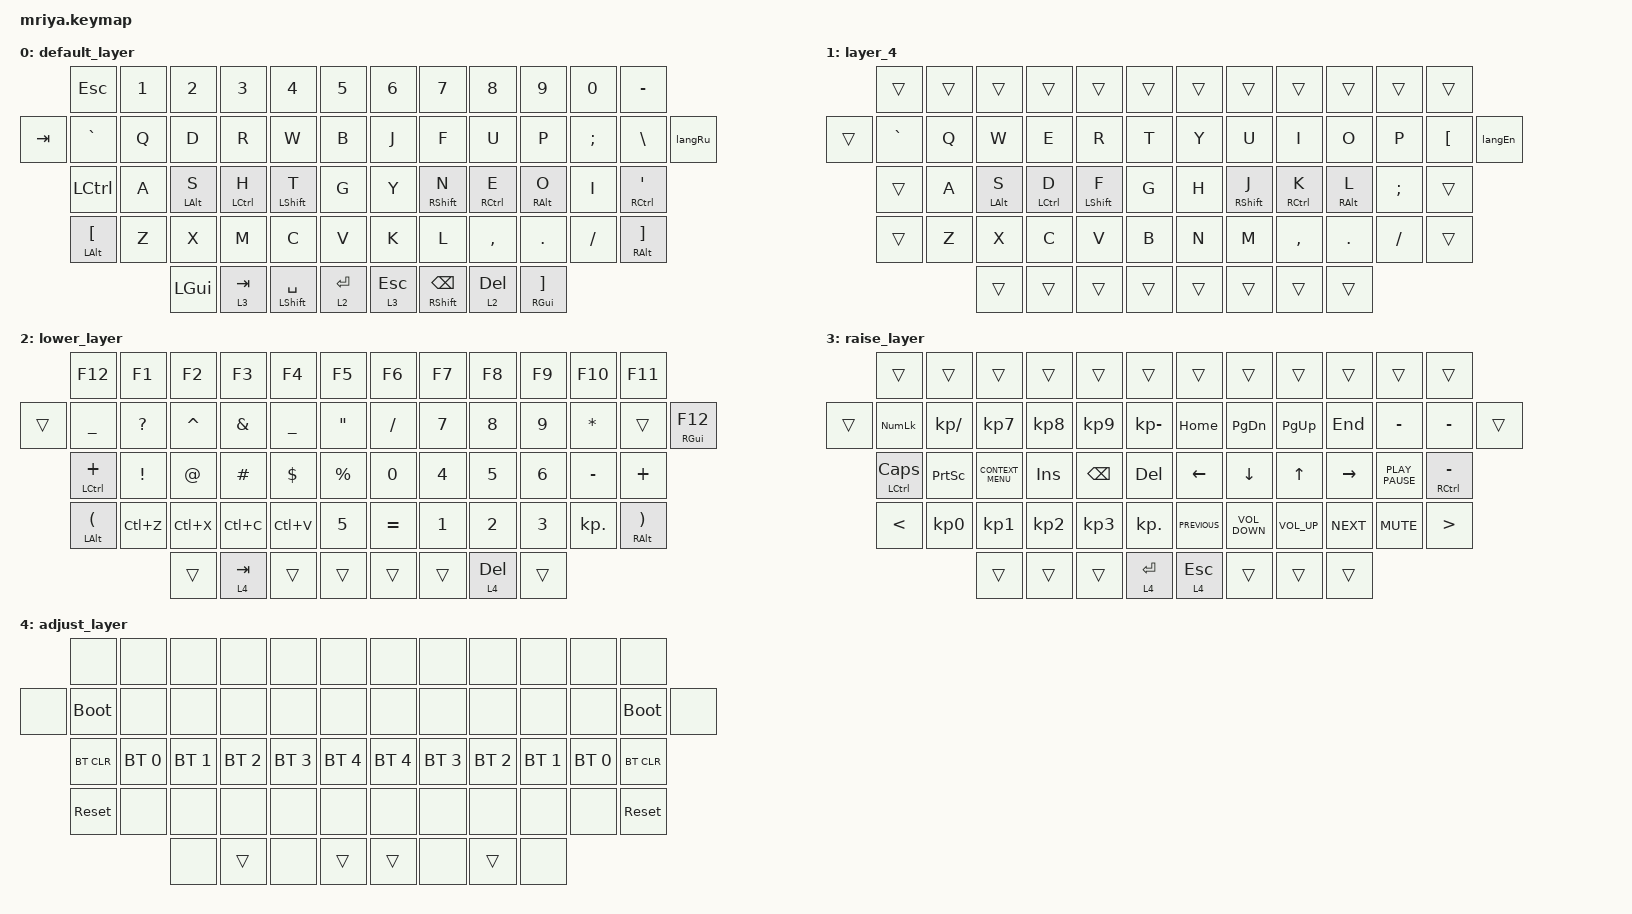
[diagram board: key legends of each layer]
/*
 * Copyright (c) 2023 Andrei Gaevskii
 *
 * SPDX-License-Identifier: MIT
 */

#include <behaviors.dtsi>
#include <dt-bindings/zmk/bt.h>
#include <dt-bindings/zmk/keys.h>

#define DEF 0
#define LWR 1
#define RSE 2
#define ADJ 3

&lt { quick_tap_ms = <200>; };

&mt { quick_tap_ms = <200>; };

/ {
    macros {
        langEn: langEn {
            compatible = "zmk,behavior-macro";
            #binding-cells = <0>;
            bindings =
                <&macro_press>,
                <&to 0 &kp LGUI>,
                <&macro_tap>,
                <&kp SPACE>,
                <&macro_pause_for_release>,
                <&macro_release>,
                <&to 0 &kp LGUI>;

            label = "LANGEN";
        };

        langRu: langRu {
            compatible = "zmk,behavior-macro";
            #binding-cells = <0>;
            bindings =
                <&macro_press>,
                <&to 1 &kp LGUI>,
                <&macro_tap>,
                <&kp SPACE>,
                <&macro_pause_for_release>,
                <&macro_release>,
                <&to 1 &kp LGUI>;

            label = "LANGRU";
        };
    };

    behaviors {
        ht: ht {
            compatible = "zmk,behavior-hold-tap";
            label = "HT";
            bindings = <&kp>, <&kp>;

            #binding-cells = <2>;
            tapping-term-ms = <200>;
            flavor = "tap-preferred";
        };
    };

    keymap {
        compatible = "zmk,keymap";

        default_layer {
            bindings = <
         &kp ESC                    &kp N1  &kp N2      &kp N3       &kp N4           &kp N5       &kp N6     &kp N7          &kp N8       &kp N9                  &kp N0         &kp MINUS
&kp TAB  &kp GRAVE                  &kp Q   &kp D       &kp R        &kp W            &kp B        &kp J      &kp F           &kp U        &kp P                   &kp SEMICOLON  &kp BACKSLASH           &langRu
         &kp LCTRL                  &kp A   &ht LALT S  &ht LCTRL H  &ht LSHFT T      &kp G        &kp Y      &ht RSHFT N     &ht RCTRL E  &ht RALT O              &kp I          &mt RCTRL SQT
         &mt LEFT_ALT LEFT_BRACKET  &kp Z   &kp X       &kp M        &kp C            &kp V        &kp K      &kp L           &kp COMMA    &kp DOT                 &kp FSLH       &mt RALT RIGHT_BRACKET
                                            &kp LGUI    &lt 3 TAB    &mt LSHFT SPACE  &lt 2 RET    &lt 3 ESC  &mt RSHFT BSPC  &lt 2 DEL    &mt RGUI RIGHT_BRACKET
            >;
        };

        layer_4 {
            bindings = <
        &trans     &trans  &trans      &trans       &trans       &trans    &trans  &trans       &trans       &trans      &trans     &trans
&trans  &kp GRAVE  &kp Q   &kp W       &kp E        &kp R        &kp T     &kp Y   &kp U        &kp I        &kp O       &kp P      &kp LBKT  &langEn
        &trans     &kp A   &ht LALT S  &ht LCTRL D  &ht LSHFT F  &kp G     &kp H   &ht RSHFT J  &ht RCTRL K  &ht RALT L  &kp SEMI   &trans
        &trans     &kp Z   &kp X       &kp C        &kp V        &kp B     &kp N   &kp M        &kp COMMA    &kp DOT     &kp SLASH  &trans
                           &trans      &trans       &trans       &trans    &trans  &trans       &trans       &trans
            >;
        };

        lower_layer {
            bindings = <
        &kp F12                    &kp F1        &kp F2     &kp F3         &kp F4          &kp F5               &kp F6        &kp F7        &kp F8        &kp F9        &kp F10     &kp F11
&trans  &kp UNDER                  &kp QUESTION  &kp CARET  &kp AMPERSAND  &kp UNDERSCORE  &kp DOUBLE_QUOTES    &kp SLASH     &kp NUMBER_7  &kp NUMBER_8  &kp NUMBER_9  &kp STAR    &trans                           &mt RGUI F12
        &mt LCTRL PLUS             &kp EXCL      &kp AT     &kp HASH       &kp DLLR        &kp PRCNT            &kp NUMBER_0  &kp NUMBER_4  &kp NUMBER_5  &kp NUMBER_6  &kp MINUS   &kp PLUS
        &mt LALT LEFT_PARENTHESIS  &kp LC(Z)     &kp LC(X)  &kp LC(C)      &kp LC(V)       &kp N5               &kp EQUAL     &kp NUMBER_1  &kp NUMBER_2  &kp NUMBER_3  &kp KP_DOT  &mt RIGHT_ALT RIGHT_PARENTHESIS
                                                 &trans     &lt 4 TAB      &trans          &trans               &trans        &trans        &lt 4 DEL     &trans
            >;
        };

        raise_layer {
            bindings = <
        &trans              &trans           &trans              &trans      &trans         &trans          &trans          &trans             &trans           &trans      &trans            &trans
&trans  &kp KP_NUM          &kp KP_SLASH     &kp KP_N7           &kp KP_N8   &kp KP_N9      &kp KP_MINUS    &kp HOME        &kp PAGE_DOWN      &kp PG_UP        &kp END     &kp MINUS         &kp MINUS         &trans
        &mt LCTRL CAPSLOCK  &kp PRINTSCREEN  &kp K_CONTEXT_MENU  &kp INSERT  &kp BACKSPACE  &kp DELETE      &kp LEFT        &kp DOWN           &kp UP           &kp RIGHT   &kp K_PLAY_PAUSE  &mt RCTRL MINUS
        &kp LESS_THAN       &kp KP_N0        &kp KP_N1           &kp KP_N2   &kp KP_N3      &kp KP_DOT      &kp K_PREVIOUS  &kp C_VOLUME_DOWN  &kp C_VOLUME_UP  &kp K_NEXT  &kp K_MUTE        &kp GREATER_THAN
                                             &trans              &trans      &trans         &lt 4 RET       &lt 4 ESC       &trans             &trans           &trans
            >;
        };

        adjust_layer {
            bindings = <
       &none        &none         &none         &none         &none         &none           &none         &none         &none         &none         &none         &none
&none  &bootloader  &none         &none         &none         &none         &none           &none         &none         &none         &none         &none         &bootloader  &none
       &bt BT_CLR   &bt BT_SEL 0  &bt BT_SEL 1  &bt BT_SEL 2  &bt BT_SEL 3  &bt BT_SEL 4    &bt BT_SEL 4  &bt BT_SEL 3  &bt BT_SEL 2  &bt BT_SEL 1  &bt BT_SEL 0  &bt BT_CLR
       &sys_reset   &none         &none         &none         &none         &none           &none         &none         &none         &none         &none         &sys_reset
                                  &none         &trans        &none         &trans          &trans        &none         &trans        &none
            >;
        };
    };
};
